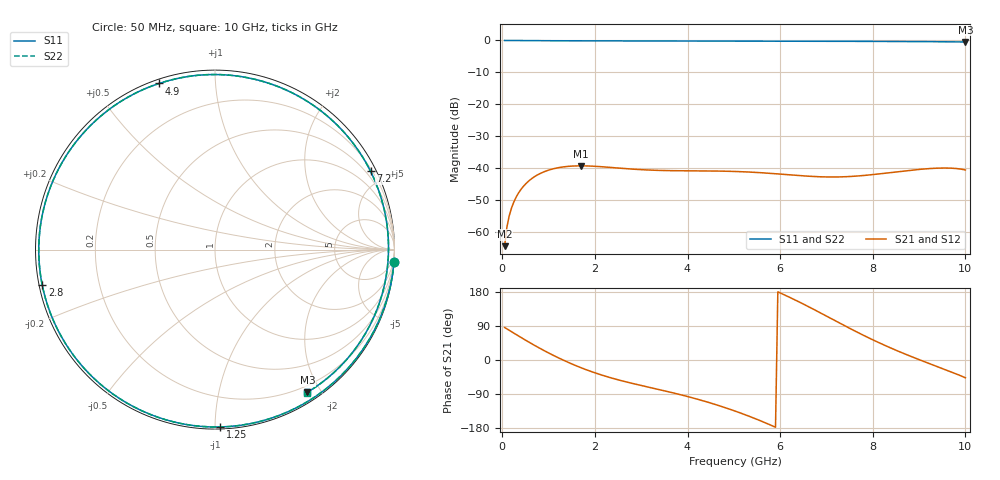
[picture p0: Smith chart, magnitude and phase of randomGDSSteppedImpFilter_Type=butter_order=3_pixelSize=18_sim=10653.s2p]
! freq	dB(S11)	phase(S11)	dB(S12)	phase(S12)
!  dB(S21)	phase(S21)	dB(S22)	phase(S22)
!S-par simulation data
#  GHz  S  DB  R 50
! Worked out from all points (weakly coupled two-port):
!   200 points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, 50 MHz to 10 GHz, reference 50 ohm
!   highest |S21| = -39.18 dB at 1.7 GHz (marker M1); lowest = -64.3 dB at 50 MHz (marker M2)
!   lowest |S11| = -0.5 dB at 10 GHz (marker M3), VSWR 36.70, Z = 5.96 - j91.7 ohm
!   |S11| at or under -10 dB: nowhere
!   |S22| runs from -0.5 to 0.0 dB; largest |S21 - S12| = 0
!   S11 on the Smith chart (normalised r, x): 50 MHz: 0, -30; 1.25 GHz: 0.01, -1.03; 2.8 GHz: 0.01, -0.10; 4.9 GHz: 0.02, +0.72; 7.2 GHz: 0.28, +4.20; 10 GHz: 0.12, -1.83
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0.05  -0.00 -3.8  -64.28 85.8  -64.28 85.8  -0.00 -3.8
0.1  -0.01 -7.7  -58.27 82.2  -58.27 82.2  -0.01 -7.7
0.15  -0.02 -11.5  -54.78 78.4  -54.78 78.4  -0.02 -11.5
0.25  -0.03 -19.0  -50.44 70.9  -50.44 70.9  -0.03 -19.0
0.4  -0.05 -30.2  -46.61 59.7  -46.61 59.7  -0.05 -30.2
0.85  -0.08 -62.3  -41.35 28.2  -41.35 28.2  -0.08 -62.3
1.25  -0.10 -88.4  -39.66 3.5  -39.66 3.5  -0.10 -88.4
1.7  -0.12 -114.7  -39.18 -20.4  -39.18 -20.4  -0.12 -114.7
1.75  -0.12 -117.5  -39.19 -22.8  -39.19 -22.8  -0.12 -117.5
2.25  -0.14 -143.1  -39.57 -43.6  -39.57 -43.6  -0.14 -143.1
2.8  -0.15 -168.4  -40.19 -61.5  -40.19 -61.5  -0.15 -168.4
3.4  -0.16 166.4  -40.61 -78.5  -40.61 -78.5  -0.16 166.4
4.2  -0.18 135.0  -40.75 -102.9  -40.75 -102.9  -0.18 134.9
4.9  -0.21 108.6  -40.88 -129.4  -40.88 -129.4  -0.21 108.5
5.05  -0.21 103.1  -40.95 -135.8  -40.95 -135.8  -0.21 103.0
5.85  -0.23 73.8  -41.59 -174.7  -41.59 -174.7  -0.23 73.7
6.7  -0.25 43.7  -42.49 135.2  -42.49 135.2  -0.25 43.6
7.2  -0.26 26.7  -42.66 102.9  -42.66 102.9  -0.26 26.6
7.75  -0.28 8.7  -42.26 68.1  -42.26 68.1  -0.28 8.6
8.35  -0.31 -10.0  -41.33 33.7  -41.33 33.7  -0.31 -10.1
9.15  -0.37 -33.3  -40.11 -6.1  -40.11 -6.1  -0.37 -33.5
10  -0.47 -57.1  -40.48 -47.0  -40.48 -47.0  -0.47 -57.3
